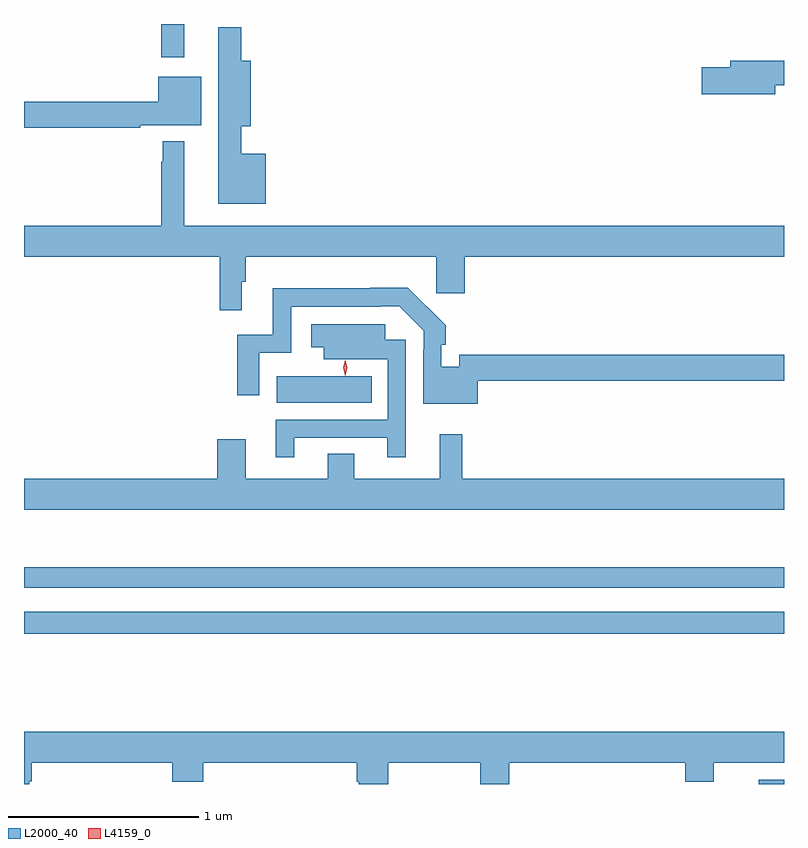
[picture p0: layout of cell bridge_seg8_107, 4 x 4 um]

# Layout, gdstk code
import gdstk
lib = gdstk.Library(unit=1e-6, precision=1e-09)
def R(c, l, rs):  # rectangles x0, y0, x1, y1
    for r in rs: c.add(gdstk.rectangle(r[:2], r[2:], *l))
def P(c, l, *ps):  # polygons
    for p in ps: c.add(gdstk.Polygon(p, *l))
L2000_40 = (2000, 40)
L4159_0 = (4159, 0)

bridge_seg8_107 = lib.new_cell('bridge_seg8_107')
R(bridge_seg8_107, L2000_40, [(783.019,1124.381,783.151,1124.403), (779.151,1125.172,783.151,1125.288), (779.151,1125.414,783.151,1125.523), (780.48,1126.388,780.98,1126.528), (779.874,1128.207,779.995,1128.381)])
P(bridge_seg8_107, L2000_40, [(780.424,1127.698),(780.295,1127.698),(780.295,1127.843),(780.344,1127.843),(780.344,1128.187),(780.295,1128.187),(780.295,1128.364),(780.173,1128.364),(780.173,1127.435),(780.424,1127.435)],
  [(783.106,1128.058),(783.151,1128.058),(783.151,1128.187),(782.867,1128.187),(782.867,1128.153),(782.718,1128.153),(782.718,1128.011),(783.106,1128.011)],
  [(779.762,1127.849),(780.085,1127.849),(780.085,1128.103),(779.858,1128.103),(779.858,1127.972),(779.151,1127.972),(779.151,1127.836),(779.762,1127.836)],
  [(780.298,1127.024),(780.317,1127.024),(780.317,1127.156),(781.321,1127.156),(781.321,1126.965),(781.472,1126.965),(781.472,1127.156),(783.151,1127.156),(783.151,1127.32),(779.995,1127.32),(779.995,1127.764),(779.88,1127.764),(779.88,1127.657),(779.874,1127.657),(779.874,1127.32),(779.151,1127.32),(779.151,1127.156),(780.181,1127.156),(780.181,1126.875),(780.298,1126.875)],
  [(781.539,1126.504),(783.151,1126.504),(783.151,1126.64),(781.443,1126.64),(781.443,1126.576),(781.347,1126.576),(781.347,1126.694),(781.37,1126.694),(781.37,1126.795),(781.172,1126.993),(780.973,1126.993),(780.973,1126.99),(780.461,1126.99),(780.461,1126.746),(780.274,1126.746),(780.274,1126.428),(780.39,1126.428),(780.39,1126.65),(780.558,1126.65),(780.558,1126.893),(781.025,1126.893),(781.025,1126.896),(781.125,1126.896),(781.254,1126.767),(781.254,1126.667),(781.251,1126.667),(781.251,1126.382),(781.539,1126.382)],
  [(780.574,1126.203),(781.064,1126.203),(781.064,1126.101),(781.161,1126.101),(781.161,1126.719),(781.051,1126.719),(781.051,1126.801),(780.663,1126.801),(780.663,1126.679),(780.728,1126.679),(780.728,1126.616),(781.065,1126.616),(781.065,1126.299),(780.476,1126.299),(780.476,1126.101),(780.574,1126.101)],
  [(783.151,1125.988),(781.457,1125.988),(781.457,1126.222),(781.34,1126.222),(781.34,1125.988),(780.889,1125.988),(780.889,1126.118),(780.749,1126.118),(780.749,1125.988),(780.319,1125.988),(780.319,1126.195),(780.167,1126.195),(780.167,1125.988),(779.151,1125.988),(779.151,1125.824),(783.151,1125.824)],
  [(779.179,1124.396),(779.192,1124.396),(779.192,1124.492),(779.93,1124.492),(779.93,1124.393),(780.095,1124.393),(780.095,1124.492),(780.902,1124.492),(780.902,1124.394),(780.914,1124.394),(780.914,1124.381),(781.067,1124.381),(781.067,1124.492),(781.553,1124.492),(781.553,1124.381),(781.705,1124.381),(781.705,1124.492),(782.63,1124.492),(782.63,1124.393),(782.782,1124.393),(782.782,1124.492),(783.151,1124.492),(783.151,1124.656),(779.151,1124.656),(779.151,1124.381),(779.179,1124.381)])
P(bridge_seg8_107, L4159_0, [(780.842,1126.53),(780.842,1126.53),(780.832,1126.571),(780.842,1126.611),(780.842,1126.612),(780.842,1126.611),(780.852,1126.571),(780.842,1126.53)])

lib.write_gds('bridge_seg8_107.gds')
